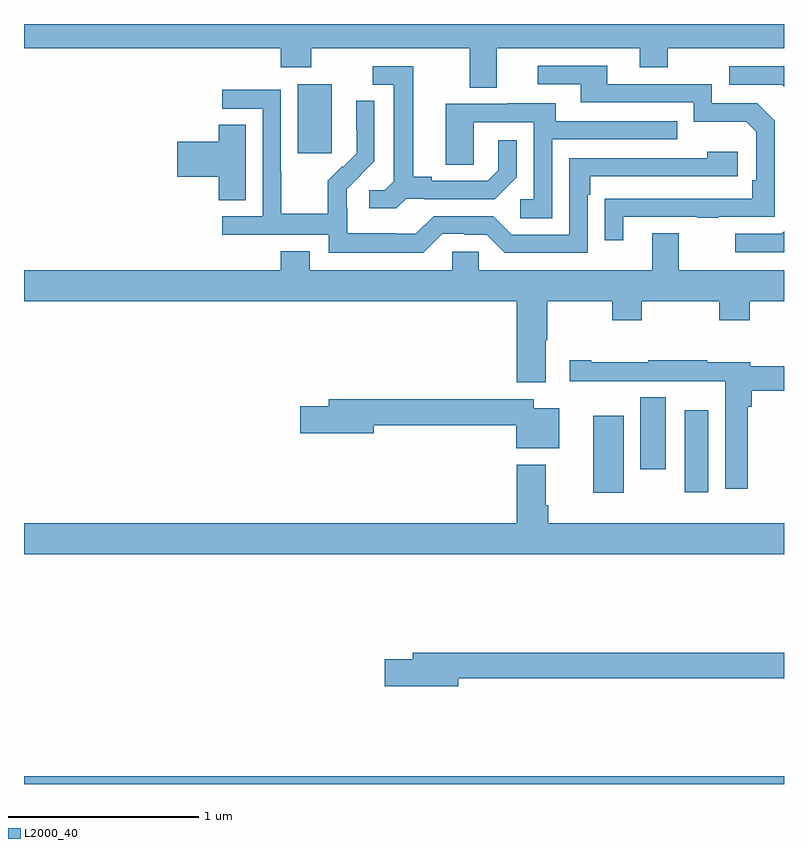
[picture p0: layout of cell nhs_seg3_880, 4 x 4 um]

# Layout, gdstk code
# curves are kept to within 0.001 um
import gdstk
lib = gdstk.Library(unit=1e-6, precision=1e-09)
def R(c, l, rs):  # rectangles x0, y0, x1, y1
    for r in rs: c.add(gdstk.rectangle(r[:2], r[2:], *l))
def P(c, l, *ps):  # polygons
    for p in ps: c.add(gdstk.Polygon(p, *l))
L2000_40 = (2000, 40)

nhs_seg3_880 = lib.new_cell('nhs_seg3_880')
R(nhs_seg3_880, L2000_40, [(157,674.4,161,674.44), (159.995,675.933,160.156,676.339), (160.478,675.936,160.6,676.366), (160.244,676.056,160.378,676.436), (158.441,677.721,158.62,678.082)])
P(nhs_seg3_880, L2000_40, [(157,678.272),(158.351,678.272),(158.351,678.173),(158.511,678.173),(158.511,678.272),(159.347,678.272),(159.347,678.064),(159.487,678.064),(159.487,678.272),(160.241,678.272),(160.241,678.173),(160.389,678.173),(160.389,678.272),(161,678.272),(161,678.4),(157,678.4)],
  [(160.153,677.385),(160.543,677.385),(160.543,677.38),(160.655,677.38),(160.655,677.385),(160.95,677.385),(160.95,677.892),(160.86,677.982),(160.62,677.982),(160.62,678.084),(160.069,678.084),(160.069,678.18),(159.705,678.18),(159.705,678.084),(159.929,678.084),(159.929,677.988),(160.524,677.988),(160.524,677.885),(160.801,677.885),(160.854,677.832),(160.854,677.578),(160.834,677.578),(160.834,677.481),(160.057,677.48),(160.057,677.262),(160.153,677.262)],
  [(161,678.177),(160.713,678.177),(160.713,678.081),(160.989,678.081),(161,678.07)],
  [(159.012,677.481),(159.106,677.481),(159.106,677.478),(159.478,677.478),(159.594,677.594),(159.594,677.788),(159.497,677.788),(159.497,677.631),(159.44,677.574),(159.145,677.574),(159.145,677.597),(159.049,677.597),(159.049,678.177),(158.835,678.177),(158.835,678.081),(158.945,678.081),(158.945,677.573),(158.898,677.526),(158.817,677.526),(158.817,677.429),(158.96,677.429)],
  [(159.201,677.295),(159.317,677.295),(159.317,677.292),(159.435,677.292),(159.531,677.196),(159.966,677.196),(159.966,677.501),(159.979,677.501),(159.979,677.598),(160.756,677.598),(160.756,677.728),(160.595,677.728),(160.595,677.694),(159.87,677.694),(159.87,677.292),(159.567,677.292),(159.471,677.388),(159.156,677.388),(159.063,677.295),(158.963,677.295),(158.963,677.299),(158.7,677.299),(158.7,677.433),(158.698,677.433),(158.698,677.53),(158.844,677.678),(158.844,677.996),(158.748,677.996),(158.748,677.842),(158.75,677.842),(158.75,677.72),(158.679,677.649),(158.676,677.652),(158.599,677.575),(158.599,677.401),(158.355,677.401),(158.355,677.624),(158.352,677.624),(158.352,678.054),(158.043,678.054),(158.043,677.955),(158.256,677.955),(158.256,677.388),(158.043,677.388),(158.043,677.292),(158.604,677.292),(158.604,677.195),(159.101,677.195)],
  [(159.78,677.793),(160.439,677.793),(160.439,677.889),(159.799,677.889),(159.799,677.983),(159.545,677.983),(159.545,677.979),(159.221,677.979),(159.221,677.659),(159.366,677.659),(159.366,677.883),(159.684,677.883),(159.684,677.478),(159.612,677.478),(159.612,677.377),(159.78,677.377)],
  [(158.167,677.87),(158.024,677.87),(158.024,677.78),(157.806,677.78),(157.806,677.597),(158.024,677.597),(158.024,677.473),(158.167,677.473)],
  [(161,677.309),(160.986,677.295),(160.743,677.295),(160.743,677.199),(161,677.199)],
  [(159.745,676.736),(159.753,676.736),(159.753,676.94),(160.096,676.94),(160.096,676.841),(160.251,676.841),(160.251,676.94),(160.66,676.94),(160.66,676.841),(160.82,676.841),(160.82,676.94),(161,676.94),(161,677.104),(160.447,677.104),(160.447,677.299),(160.307,677.299),(160.307,677.104),(159.393,677.104),(159.393,677.202),(159.255,677.202),(159.255,677.104),(158.503,677.104),(158.503,677.203),(158.351,677.203),(158.351,677.104),(157,677.104),(157,676.94),(159.593,676.94),(159.593,676.515),(159.745,676.515)],
  [(160.808,676.385),(160.83,676.385),(160.83,676.471),(161,676.471),(161,676.6),(160.822,676.6),(160.822,676.62),(160.595,676.62),(160.595,676.63),(160.285,676.63),(160.285,676.62),(159.985,676.62),(159.985,676.63),(159.873,676.63),(159.873,676.52),(160.148,676.52),(160.148,676.521),(160.482,676.521),(160.482,676.52),(160.692,676.52),(160.692,675.954),(160.808,675.954)],
  [(159.817,676.378),(159.684,676.378),(159.684,676.424),(158.603,676.424),(158.603,676.388),(158.454,676.388),(158.454,676.246),(158.842,676.246),(158.842,676.288),(159.59,676.288),(159.59,676.166),(159.817,676.166)],
  [(161,675.772),(159.758,675.772),(159.758,675.868),(159.745,675.868),(159.745,676.081),(159.593,676.081),(159.593,675.772),(157,675.772),(157,675.608),(161,675.608)],
  [(159.286,674.956),(161,674.956),(161,675.092),(159.047,675.092),(159.047,675.056),(158.898,675.056),(158.898,674.914),(159.286,674.914)])

lib.write_gds('nhs_seg3_880.gds')
